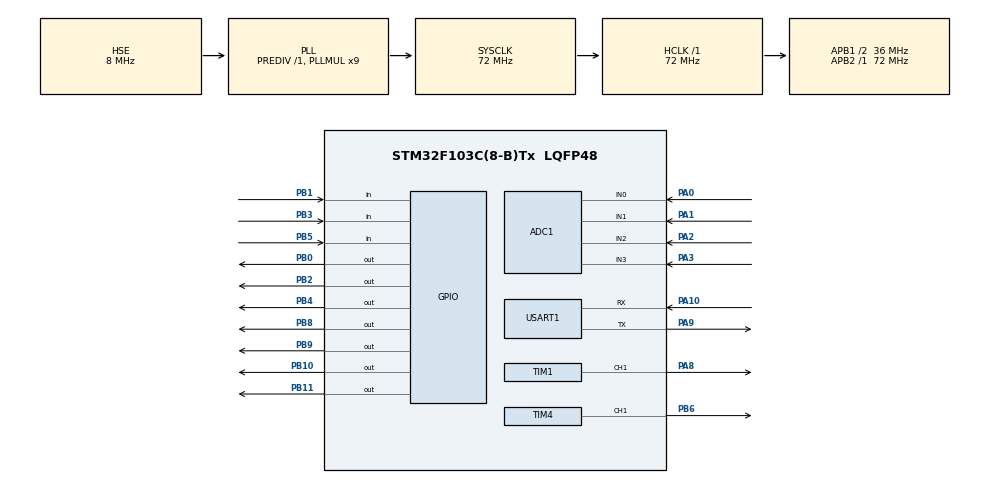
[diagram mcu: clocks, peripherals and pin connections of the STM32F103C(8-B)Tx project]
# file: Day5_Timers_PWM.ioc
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ADC1.Channel-0\#ChannelRegularConversion=ADC_CHANNEL_1
ADC1.NbrOfConversionFlag=1
ADC1.Rank-0\#ChannelRegularConversion=1
ADC1.SamplingTime-0\#ChannelRegularConversion=ADC_SAMPLETIME_1CYCLE_5
ADC1.master=1
Mcu.Family=STM32F1
Mcu.Name=STM32F103C(8-B)Tx
Mcu.Package=LQFP48
NVIC.PriorityGroup=NVIC_PRIORITYGROUP_4
NVIC.TIM3_IRQn=true\:0\:0\:false\:false\:true\:true\:true\:true
NVIC.USART1_IRQn=true\:0\:0\:false\:false\:true\:true\:true\:true
PA0-WKUP.Signal=ADCx_IN0
PA1.Signal=ADCx_IN1
PA10.Mode=Asynchronous
PA10.Signal=USART1_RX
PA13.Mode=Serial_Wire
PA13.Signal=SYS_JTMS-SWDIO
PA14.Mode=Serial_Wire
PA14.Signal=SYS_JTCK-SWCLK
PA2.Signal=ADCx_IN2
PA3.Signal=ADCx_IN3
PA8.Signal=S_TIM1_CH1
PA9.Mode=Asynchronous
PA9.Signal=USART1_TX
PB0.Signal=GPIO_Output
PB1.Signal=GPIO_Input
PB10.Signal=GPIO_Output
PB11.Signal=GPIO_Output
PB2.Signal=GPIO_Output
PB3.Signal=GPIO_Input
PB4.Signal=GPIO_Output
PB5.Signal=GPIO_Input
PB6.Signal=S_TIM4_CH1
PB8.Signal=GPIO_Output
PB9.Signal=GPIO_Output
PD0-OSC_IN.Mode=HSE-External-Oscillator
PD0-OSC_IN.Signal=RCC_OSC_IN
PD1-OSC_OUT.Mode=HSE-External-Oscillator
PD1-OSC_OUT.Signal=RCC_OSC_OUT
ProjectManager.HeapSize=0x200
ProjectManager.StackSize=0x400
ProjectManager.TargetToolchain=STM32CubeIDE
RCC.ADCPresc=RCC_ADCPCLK2_DIV6
RCC.AHBFreq_Value=72000000
RCC.APB1CLKDivider=RCC_HCLK_DIV2
RCC.APB1Freq_Value=36000000
RCC.APB1TimFreq_Value=72000000
RCC.APB2Freq_Value=72000000
RCC.APB2TimFreq_Value=72000000
RCC.HCLKFreq_Value=72000000
RCC.PLLMUL=RCC_PLL_MUL9
RCC.PLLSourceVirtual=RCC_PLLSOURCE_HSE
RCC.SYSCLKFreq_VALUE=72000000
RCC.SYSCLKSource=RCC_SYSCLKSOURCE_PLLCLK
RCC.USBFreq_Value=72000000
SH.ADCx_IN0.0=ADC1_IN0,IN0
SH.ADCx_IN1.0=ADC1_IN1,IN1
SH.ADCx_IN2.0=ADC1_IN2,IN2
SH.ADCx_IN3.0=ADC1_IN3,IN3
SH.S_TIM1_CH1.0=TIM1_CH1,PWM Generation1 CH1
SH.S_TIM4_CH1.0=TIM4_CH1,PWM Generation1 CH1
TIM1.Channel-PWM\ Generation1\ CH1=TIM_CHANNEL_1
TIM1.Period=3599
TIM2.Period=65535
TIM2.Prescaler=71
TIM3.Period=99
TIM3.Prescaler=7199
TIM4.Channel-PWM\ Generation1\ CH1=TIM_CHANNEL_1
TIM4.Period=99
TIM4.Prescaler=719
TIM4.Pulse-PWM\ Generation1\ CH1=50
USART1.VirtualMode=VM_ASYNC
VP_TIM2_VS_ClockSourceINT.Mode=Internal
VP_TIM3_VS_ClockSourceINT.Mode=Internal
VP_TIM4_VS_ClockSourceINT.Mode=Internal
board=custom

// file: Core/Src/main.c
/* USER CODE BEGIN Header */
/**
  ******************************************************************************
  * @file           : main.c
  * @brief          : Main program body
  ******************************************************************************
  * @attention
  *
  * Copyright (c) 2026 STMicroelectronics.
  * All rights reserved.
  *
  * This software is licensed under terms that can be found in the LICENSE file
  * in the root directory of this software component.
  * If no LICENSE file comes with this software, it is provided AS-IS.
  *
  ******************************************************************************
  */
/* USER CODE END Header */
#include "main.h"

/* USER CODE BEGIN Includes */
#include "ev_control.h"
#include "fault.h"
#include "adas.h"
#include "ultrasonic.h"
#include "uart_shell.h"
#include <stdio.h>
#include <string.h>
/* USER CODE END Includes */

ADC_HandleTypeDef hadc1;

TIM_HandleTypeDef htim1;
TIM_HandleTypeDef htim2;
TIM_HandleTypeDef htim3;
TIM_HandleTypeDef htim4;

UART_HandleTypeDef huart1;

/* USER CODE BEGIN PV */
EV_Data_t ev;

char uart_msg[200];

uint32_t adc_accel = 0;
uint32_t adc_brake = 0;
uint32_t adc_mode = 0;

float accel_percent = 0.0f;
float brake_percent = 0.0f;

FaultManager_t fault_manager;
ADAS_Data_t adas_data;

float ultrasonic_distance[3];

uint32_t adc_temp = 0;
float temperature_c = 0.0f;

static VehicleState_t prev_state = VEHICLE_PARKED;

uint8_t rx_byte;
/* USER CODE END PV */

void SystemClock_Config(void);
static void MX_GPIO_Init(void);
static void MX_TIM1_Init(void);
static void MX_TIM2_Init(void);
static void MX_TIM3_Init(void);
static void MX_TIM4_Init(void);
static void MX_ADC1_Init(void);
static void MX_USART1_UART_Init(void);

void EV_10ms_Task(void);
void Sensor_100ms_Task(void);
/* USER CODE BEGIN PFP */

uint32_t Read_ADC_Channel(uint32_t channel);

void Vehicle_StateMachine(void);
void Alarm_Output_Update(void);

/* USER CODE END PFP */

/* USER CODE BEGIN 0 */
volatile uint8_t ev_10ms_flag = 0;

volatile uint8_t tick_10ms = 0;
uint16_t counter_100ms = 0;
uint16_t counter_500ms = 0;
/* USER CODE END 0 */

int main(void)
{

  /* MCU Configuration--------------------------------------------------------*/

  /* Reset of all peripherals, Initializes the Flash interface and the Systick. */
  HAL_Init();

  /* Configure the system clock */
  SystemClock_Config();

  /* Initialize all configured peripherals */
  MX_GPIO_Init();
  MX_TIM1_Init();
  MX_TIM2_Init();
  MX_TIM3_Init();
  MX_TIM4_Init();
  MX_ADC1_Init();
  MX_USART1_UART_Init();
  /* USER CODE BEGIN 2 */

  EV_Init(&ev);

  Fault_Init(&fault_manager);

  ADAS_Init();

  HCSR04_Init();

  UART_Shell_Init(&huart1);

  HAL_TIM_Base_Start(&htim2);

  HAL_TIM_Base_Start_IT(&htim3);

  HAL_TIM_PWM_Start(&htim1, TIM_CHANNEL_1);

  HAL_TIM_PWM_Start(&htim4, TIM_CHANNEL_1);

  __HAL_TIM_SET_COMPARE(&htim1, TIM_CHANNEL_1, 1800);

  __HAL_TIM_SET_COMPARE(&htim4, TIM_CHANNEL_1, 50);

  /* USER CODE END 2 */

  /* Infinite loop */
  /* USER CODE BEGIN WHILE */
  while (1)
  {
	  if (__HAL_UART_GET_FLAG(&huart1, UART_FLAG_ORE))
	  {
	      __HAL_UART_CLEAR_OREFLAG(&huart1);
	  }

	  Process_RX_Buffer();

	  UART_Shell_Process(&ev, &fault_manager, &adas_data);

      if(tick_10ms)
      {
          tick_10ms = 0;

          EV_10ms_Task();

          counter_100ms++;
          counter_500ms++;

          // 100ms task
          if(counter_100ms >= 10)
          {
              counter_100ms = 0;
              Sensor_100ms_Task();
          }

          // 500ms heartbeat (debug only)
          if(counter_500ms >= 50)
          {
              counter_500ms = 0;
          }
      }
  }
    /* USER CODE END WHILE */

}

void SystemClock_Config(void)
{
  RCC_OscInitTypeDef RCC_OscInitStruct = {0};
  RCC_ClkInitTypeDef RCC_ClkInitStruct = {0};
  RCC_PeriphCLKInitTypeDef PeriphClkInit = {0};

  /** Initializes the RCC Oscillators according to the specified parameters
  * in the RCC_OscInitTypeDef structure.
  */
  RCC_OscInitStruct.OscillatorType = RCC_OSCILLATORTYPE_HSE;
  RCC_OscInitStruct.HSEState = RCC_HSE_ON;
  RCC_OscInitStruct.HSEPredivValue = RCC_HSE_PREDIV_DIV1;
  RCC_OscInitStruct.HSIState = RCC_HSI_ON;
  RCC_OscInitStruct.PLL.PLLState = RCC_PLL_ON;
  RCC_OscInitStruct.PLL.PLLSource = RCC_PLLSOURCE_HSE;
  RCC_OscInitStruct.PLL.PLLMUL = RCC_PLL_MUL9;
  if (HAL_RCC_OscConfig(&RCC_OscInitStruct) != HAL_OK)
  {
    Error_Handler();
  }

  /** Initializes the CPU, AHB and APB buses clocks
  */
  RCC_ClkInitStruct.ClockType = RCC_CLOCKTYPE_HCLK|RCC_CLOCKTYPE_SYSCLK
                              |RCC_CLOCKTYPE_PCLK1|RCC_CLOCKTYPE_PCLK2;
  RCC_ClkInitStruct.SYSCLKSource = RCC_SYSCLKSOURCE_PLLCLK;
  RCC_ClkInitStruct.AHBCLKDivider = RCC_SYSCLK_DIV1;
  RCC_ClkInitStruct.APB1CLKDivider = RCC_HCLK_DIV2;
  RCC_ClkInitStruct.APB2CLKDivider = RCC_HCLK_DIV1;

  if (HAL_RCC_ClockConfig(&RCC_ClkInitStruct, FLASH_LATENCY_2) != HAL_OK)
  {
    Error_Handler();
  }
  PeriphClkInit.PeriphClockSelection = RCC_PERIPHCLK_ADC;
  PeriphClkInit.AdcClockSelection = RCC_ADCPCLK2_DIV6;
  if (HAL_RCCEx_PeriphCLKConfig(&PeriphClkInit) != HAL_OK)
  {
    Error_Handler();
  }
}

static void MX_ADC1_Init(void)
{

  ADC_ChannelConfTypeDef sConfig = {0};

  /** Common config
  */
  hadc1.Instance = ADC1;
  hadc1.Init.ScanConvMode = ADC_SCAN_DISABLE;
  hadc1.Init.ContinuousConvMode = DISABLE;
  hadc1.Init.DiscontinuousConvMode = DISABLE;
  hadc1.Init.ExternalTrigConv = ADC_SOFTWARE_START;
  hadc1.Init.DataAlign = ADC_DATAALIGN_RIGHT;
  hadc1.Init.NbrOfConversion = 1;
  if (HAL_ADC_Init(&hadc1) != HAL_OK)
  {
    Error_Handler();
  }

  /** Configure Regular Channel
  */
  sConfig.Channel = ADC_CHANNEL_1;
  sConfig.Rank = ADC_REGULAR_RANK_1;
  sConfig.SamplingTime = ADC_SAMPLETIME_1CYCLE_5;
  if (HAL_ADC_ConfigChannel(&hadc1, &sConfig) != HAL_OK)
  {
    Error_Handler();
  }

}

static void MX_TIM1_Init(void)
{

  TIM_MasterConfigTypeDef sMasterConfig = {0};
  TIM_OC_InitTypeDef sConfigOC = {0};
  TIM_BreakDeadTimeConfigTypeDef sBreakDeadTimeConfig = {0};

  htim1.Instance = TIM1;
  htim1.Init.Prescaler = 0;
  htim1.Init.CounterMode = TIM_COUNTERMODE_UP;
  htim1.Init.Period = 3599;
  htim1.Init.ClockDivision = TIM_CLOCKDIVISION_DIV1;
  htim1.Init.RepetitionCounter = 0;
  htim1.Init.AutoReloadPreload = TIM_AUTORELOAD_PRELOAD_DISABLE;
  if (HAL_TIM_PWM_Init(&htim1) != HAL_OK)
  {
    Error_Handler();
  }
  sMasterConfig.MasterOutputTrigger = TIM_TRGO_RESET;
  sMasterConfig.MasterSlaveMode = TIM_MASTERSLAVEMODE_DISABLE;
  if (HAL_TIMEx_MasterConfigSynchronization(&htim1, &sMasterConfig) != HAL_OK)
  {
    Error_Handler();
  }
  sConfigOC.OCMode = TIM_OCMODE_PWM1;
  sConfigOC.Pulse = 0;
  sConfigOC.OCPolarity = TIM_OCPOLARITY_HIGH;
  sConfigOC.OCNPolarity = TIM_OCNPOLARITY_HIGH;
  sConfigOC.OCFastMode = TIM_OCFAST_DISABLE;
  sConfigOC.OCIdleState = TIM_OCIDLESTATE_RESET;
  sConfigOC.OCNIdleState = TIM_OCNIDLESTATE_RESET;
  if (HAL_TIM_PWM_ConfigChannel(&htim1, &sConfigOC, TIM_CHANNEL_1) != HAL_OK)
  {
    Error_Handler();
  }
  sBreakDeadTimeConfig.OffStateRunMode = TIM_OSSR_DISABLE;
  sBreakDeadTimeConfig.OffStateIDLEMode = TIM_OSSI_DISABLE;
  sBreakDeadTimeConfig.LockLevel = TIM_LOCKLEVEL_OFF;
  sBreakDeadTimeConfig.DeadTime = 0;
  sBreakDeadTimeConfig.BreakState = TIM_BREAK_DISABLE;
  sBreakDeadTimeConfig.BreakPolarity = TIM_BREAKPOLARITY_HIGH;
  sBreakDeadTimeConfig.AutomaticOutput = TIM_AUTOMATICOUTPUT_DISABLE;
  if (HAL_TIMEx_ConfigBreakDeadTime(&htim1, &sBreakDeadTimeConfig) != HAL_OK)
  {
    Error_Handler();
  }
  HAL_TIM_MspPostInit(&htim1);

}

static void MX_TIM2_Init(void)
{

  TIM_ClockConfigTypeDef sClockSourceConfig = {0};
  TIM_MasterConfigTypeDef sMasterConfig = {0};

  htim2.Instance = TIM2;
  htim2.Init.Prescaler = 71;
  htim2.Init.CounterMode = TIM_COUNTERMODE_UP;
  htim2.Init.Period = 65535;
  htim2.Init.ClockDivision = TIM_CLOCKDIVISION_DIV1;
  htim2.Init.AutoReloadPreload = TIM_AUTORELOAD_PRELOAD_DISABLE;
  if (HAL_TIM_Base_Init(&htim2) != HAL_OK)
  {
    Error_Handler();
  }
  sClockSourceConfig.ClockSource = TIM_CLOCKSOURCE_INTERNAL;
  if (HAL_TIM_ConfigClockSource(&htim2, &sClockSourceConfig) != HAL_OK)
  {
    Error_Handler();
  }
  sMasterConfig.MasterOutputTrigger = TIM_TRGO_RESET;
  sMasterConfig.MasterSlaveMode = TIM_MASTERSLAVEMODE_DISABLE;
  if (HAL_TIMEx_MasterConfigSynchronization(&htim2, &sMasterConfig) != HAL_OK)
  {
    Error_Handler();
  }

}

static void MX_TIM3_Init(void)
{

  TIM_ClockConfigTypeDef sClockSourceConfig = {0};
  TIM_MasterConfigTypeDef sMasterConfig = {0};

  htim3.Instance = TIM3;
  htim3.Init.Prescaler = 7199;
  htim3.Init.CounterMode = TIM_COUNTERMODE_UP;
  htim3.Init.Period = 99;
  htim3.Init.ClockDivision = TIM_CLOCKDIVISION_DIV1;
  htim3.Init.AutoReloadPreload = TIM_AUTORELOAD_PRELOAD_DISABLE;
  if (HAL_TIM_Base_Init(&htim3) != HAL_OK)
  {
    Error_Handler();
  }
  sClockSourceConfig.ClockSource = TIM_CLOCKSOURCE_INTERNAL;
  if (HAL_TIM_ConfigClockSource(&htim3, &sClockSourceConfig) != HAL_OK)
  {
    Error_Handler();
  }
  sMasterConfig.MasterOutputTrigger = TIM_TRGO_RESET;
  sMasterConfig.MasterSlaveMode = TIM_MASTERSLAVEMODE_DISABLE;
  if (HAL_TIMEx_MasterConfigSynchronization(&htim3, &sMasterConfig) != HAL_OK)
  {
    Error_Handler();
  }

}

static void MX_TIM4_Init(void)
{

  TIM_ClockConfigTypeDef sClockSourceConfig = {0};
  TIM_MasterConfigTypeDef sMasterConfig = {0};
  TIM_OC_InitTypeDef sConfigOC = {0};

  htim4.Instance = TIM4;
  htim4.Init.Prescaler = 719;
  htim4.Init.CounterMode = TIM_COUNTERMODE_UP;
  htim4.Init.Period = 99;
  htim4.Init.ClockDivision = TIM_CLOCKDIVISION_DIV1;
  htim4.Init.AutoReloadPreload = TIM_AUTORELOAD_PRELOAD_DISABLE;
  if (HAL_TIM_Base_Init(&htim4) != HAL_OK)
  {
    Error_Handler();
  }
  sClockSourceConfig.ClockSource = TIM_CLOCKSOURCE_INTERNAL;
  if (HAL_TIM_ConfigClockSource(&htim4, &sClockSourceConfig) != HAL_OK)
  {
    Error_Handler();
  }
  if (HAL_TIM_PWM_Init(&htim4) != HAL_OK)
  {
    Error_Handler();
  }
  sMasterConfig.MasterOutputTrigger = TIM_TRGO_RESET;
  sMasterConfig.MasterSlaveMode = TIM_MASTERSLAVEMODE_DISABLE;
  if (HAL_TIMEx_MasterConfigSynchronization(&htim4, &sMasterConfig) != HAL_OK)
  {
    Error_Handler();
  }
  sConfigOC.OCMode = TIM_OCMODE_PWM1;
  sConfigOC.Pulse = 50;
  sConfigOC.OCPolarity = TIM_OCPOLARITY_HIGH;
  sConfigOC.OCFastMode = TIM_OCFAST_DISABLE;
  if (HAL_TIM_PWM_ConfigChannel(&htim4, &sConfigOC, TIM_CHANNEL_1) != HAL_OK)
  {
    Error_Handler();
  }
  HAL_TIM_MspPostInit(&htim4);

}

static void MX_USART1_UART_Init(void)
{

  huart1.Instance = USART1;
  huart1.Init.BaudRate = 115200;
  huart1.Init.WordLength = UART_WORDLENGTH_8B;
  huart1.Init.StopBits = UART_STOPBITS_1;
  huart1.Init.Parity = UART_PARITY_NONE;
  huart1.Init.Mode = UART_MODE_TX_RX;
  huart1.Init.HwFlowCtl = UART_HWCONTROL_NONE;
  huart1.Init.OverSampling = UART_OVERSAMPLING_16;
  if (HAL_UART_Init(&huart1) != HAL_OK)
  {
    Error_Handler();
  }

}

static void MX_GPIO_Init(void)
{
  GPIO_InitTypeDef GPIO_InitStruct = {0};

  /* GPIO Ports Clock Enable */
  __HAL_RCC_GPIOD_CLK_ENABLE();
  __HAL_RCC_GPIOA_CLK_ENABLE();
  __HAL_RCC_GPIOB_CLK_ENABLE();

  /*Configure GPIO pin Output Level */
  HAL_GPIO_WritePin(GPIOB, GPIO_PIN_0|GPIO_PIN_2|GPIO_PIN_10|GPIO_PIN_11
                          |GPIO_PIN_4|GPIO_PIN_8|GPIO_PIN_9, GPIO_PIN_RESET);

  /*Configure GPIO pins : PB0 PB2 PB10 PB11
                           PB4 PB8 PB9 */
  GPIO_InitStruct.Pin = GPIO_PIN_0|GPIO_PIN_2|GPIO_PIN_10|GPIO_PIN_11
                          |GPIO_PIN_4|GPIO_PIN_8|GPIO_PIN_9;
  GPIO_InitStruct.Mode = GPIO_MODE_OUTPUT_PP;
  GPIO_InitStruct.Pull = GPIO_NOPULL;
  GPIO_InitStruct.Speed = GPIO_SPEED_FREQ_LOW;
  HAL_GPIO_Init(GPIOB, &GPIO_InitStruct);

  /*Configure GPIO pins : PB1 PB3 PB5 */
  GPIO_InitStruct.Pin = GPIO_PIN_1|GPIO_PIN_3|GPIO_PIN_5;
  GPIO_InitStruct.Mode = GPIO_MODE_INPUT;
  GPIO_InitStruct.Pull = GPIO_NOPULL;
  HAL_GPIO_Init(GPIOB, &GPIO_InitStruct);

}

/* USER CODE BEGIN 4 */

void EV_10ms_Task(void)
{
    adc_accel = Read_ADC_Channel(ADC_CHANNEL_0);
    adc_brake = Read_ADC_Channel(ADC_CHANNEL_1);
    adc_mode  = Read_ADC_Channel(ADC_CHANNEL_2);
    adc_temp  = Read_ADC_Channel(ADC_CHANNEL_3);

    accel_percent = (adc_accel * 100.0f) / 4095.0f;
    brake_percent = (adc_brake * 100.0f) / 4095.0f;
    temperature_c = (adc_temp * 120.0f) / 4095.0f;

    ev.accelerator_percent = accel_percent;
    ev.brake_percent = brake_percent;
    ev.temperature_c = temperature_c;

    if(adc_mode < 1365)
        ev.mode = DRIVE_ECO;
    else if(adc_mode < 2730)
        ev.mode = DRIVE_NORMAL;
    else
        ev.mode = DRIVE_SPORT;

    Fault_Update(&fault_manager, ev.temperature_c, ev.soc_percent);

    adas_data = ADAS_GetData();

    Vehicle_StateMachine();

    if(ev.state != prev_state)
    {
        UART_Send_StatePacket(ev.state);
        prev_state = ev.state;
    }

    if(ev.state != VEHICLE_FAULT)
        EV_Update(&ev, 0.01f);

    Alarm_Output_Update();
}

void Sensor_100ms_Task(void)
{
    HCSR04_ReadAll(ultrasonic_distance);

    ADAS_Update(
        ultrasonic_distance[0],
        ultrasonic_distance[1],
        ultrasonic_distance[2],
        ev.speed_kmph
    );

    adas_data = ADAS_GetData();

    if(ev.state != VEHICLE_FAULT)
    {
        UART_Send_EVPacket(&ev);
        UART_Send_ADASPacket(&adas_data);
    }
}

void HAL_UART_RxCpltCallback(UART_HandleTypeDef *huart)
{
    if(huart->Instance == USART1)
    {
        UART_Shell_RxCallback();
    }
}

uint32_t Read_ADC_Channel(uint32_t channel)
{
    ADC_ChannelConfTypeDef sConfig = {0};

    sConfig.Channel = channel;
    sConfig.Rank = ADC_REGULAR_RANK_1;
    sConfig.SamplingTime = ADC_SAMPLETIME_71CYCLES_5;

    HAL_ADC_ConfigChannel(&hadc1, &sConfig);

    HAL_ADC_Start(&hadc1);
    HAL_ADC_PollForConversion(&hadc1, 10);

    uint32_t value = HAL_ADC_GetValue(&hadc1);

    HAL_ADC_Stop(&hadc1);

    return value;
}

void Vehicle_StateMachine(void)
{
	if(Fault_HasCritical(&fault_manager) || adas_data.critical_fault)
    {
        ev.state = VEHICLE_FAULT;
        HAL_TIM_PWM_Stop(&htim1, TIM_CHANNEL_1);
        return;
    }

    switch(ev.state)
    {
        case VEHICLE_PARKED:
            if(ev.brake_percent > 5.0f)
            {
                ev.state = VEHICLE_READY;
            }
            break;

        case VEHICLE_READY:
            if(ev.accelerator_percent < 2.0f &&
               ev.brake_percent < 2.0f &&
               ev.speed_kmph < 1.0f)
            {
                ev.state = VEHICLE_PARKED;
            }
            else if(ev.accelerator_percent > 5.0f &&
                    ev.brake_percent < 5.0f)
            {
                ev.state = VEHICLE_DRIVING;
            }
            break;

        case VEHICLE_DRIVING:
            if(ev.brake_percent > 5.0f)
            {
                ev.state = VEHICLE_REGEN;
            }
            else if(ev.accelerator_percent < 2.0f && ev.speed_kmph < 1.0f)
            {
                ev.state = VEHICLE_READY;
            }
            break;

        case VEHICLE_REGEN:
            if(ev.brake_percent < 5.0f)
            {
                ev.state = VEHICLE_READY;
            }
            break;

        case VEHICLE_FAULT:
            HAL_TIM_PWM_Stop(&htim1, TIM_CHANNEL_1);
            break;
    }
}

void Alarm_Output_Update(void)
{
    HAL_GPIO_WritePin(GPIOB, GPIO_PIN_8, GPIO_PIN_RESET);
    HAL_GPIO_WritePin(GPIOB, GPIO_PIN_9, GPIO_PIN_RESET);
    HAL_GPIO_WritePin(GPIOB, GPIO_PIN_10, GPIO_PIN_RESET);
    HAL_GPIO_WritePin(GPIOB, GPIO_PIN_11, GPIO_PIN_RESET);

    if(fault_manager.alarm_priority == ALARM_P3_ADVISORY)
    {
        HAL_GPIO_WritePin(GPIOB, GPIO_PIN_8, GPIO_PIN_SET);
        __HAL_TIM_SET_AUTORELOAD(&htim4, 999);
        __HAL_TIM_SET_COMPARE(&htim4, TIM_CHANNEL_1, 500);
    }
    else if(fault_manager.alarm_priority == ALARM_P2_WARNING)
    {
        HAL_GPIO_WritePin(GPIOB, GPIO_PIN_9, GPIO_PIN_SET);
        __HAL_TIM_SET_AUTORELOAD(&htim4, 499);
        __HAL_TIM_SET_COMPARE(&htim4, TIM_CHANNEL_1, 250);
    }
    else if(fault_manager.alarm_priority == ALARM_P1_CRITICAL)
    {
        HAL_GPIO_WritePin(GPIOB, GPIO_PIN_10, GPIO_PIN_SET);
        HAL_GPIO_WritePin(GPIOB, GPIO_PIN_11, GPIO_PIN_SET);
        __HAL_TIM_SET_AUTORELOAD(&htim4, 199);
        __HAL_TIM_SET_COMPARE(&htim4, TIM_CHANNEL_1, 100);
    }
    else
    {
        __HAL_TIM_SET_COMPARE(&htim4, TIM_CHANNEL_1, 0);
    }
}

void HAL_TIM_PeriodElapsedCallback(TIM_HandleTypeDef *htim)
{
    if(htim->Instance == TIM3)
    {
        tick_10ms = 1;
    }
}
/* USER CODE END 4 */

void Error_Handler(void)
{
  __disable_irq();
  while (1)
  {
  }
}
